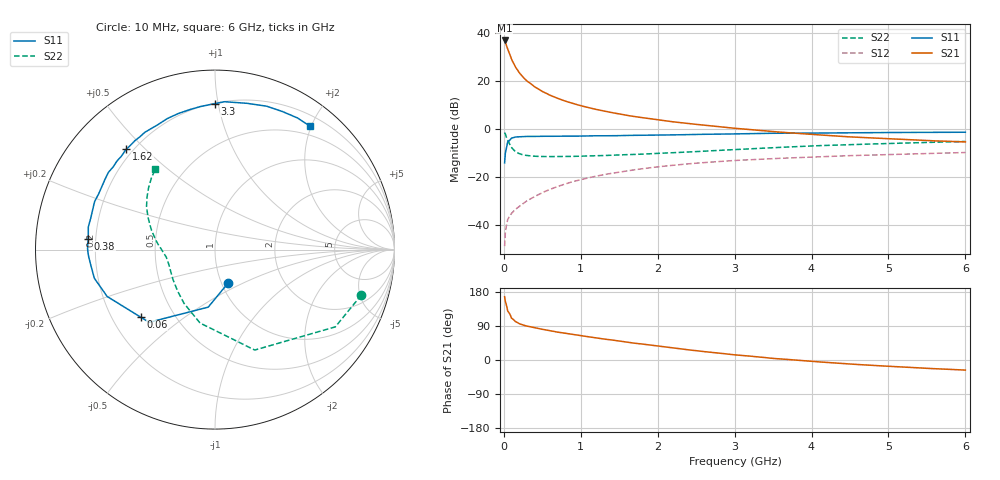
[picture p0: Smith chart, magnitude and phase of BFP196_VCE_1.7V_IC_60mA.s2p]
! Infineon Technologies  Discrete & RF Semiconductors
! BFP196
! VCE = 1.7 V,  IC =  60mA
! Common Emitter S-Parameters:  Jan 2016
# GHz  S  MA  R  50
!  f  S11  S21  S12  S22
! GHz  MAG  ANG  MAG  ANG  MAG  ANG  MAG  ANG
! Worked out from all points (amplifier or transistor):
!   210 points, 10 MHz to 6 GHz, reference 50 ohm
!   highest |S21| = 37.0 dB at 10 MHz (marker M1)
!   |S21| within 3 dB of that: start of sweep to 43.66 MHz
!   unconditionally stable (mu >= 1): 371.3 MHz to 4.909 GHz
!   at 185 MHz: K = 0.79, MSG = 28.4 dB, |S12| = -32.5 dB
!   at 1.52 GHz: K = 1.09, MAG = 10.1 dB, |S12| = -17.7 dB
!   at 6 GHz: K = 0.99, MSG = 2.2 dB, |S12| = -9.7 dB
!   S11 on the Smith chart (normalised r, x): 10 MHz: 1.07, -0.42; 60 MHz: 0.32, -0.35; 380 MHz: 0.17, +0.04; 1.62 GHz: 0.17, +0.44; 3.3 GHz: 0.20, +0.98; 6 GHz: 0.36, +1.98
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0.01  0.2 -68.6  70.4 166.9  0.0037 78.6  0.8541 -17.2
0.02  0.3227 -96.7  64.88 154.0  0.0073 67.8  0.7967 -32.7
0.05  0.5469 -132.2  46.96 129.2  0.0132 54.2  0.6018 -68.4
0.06  0.5595 -137.7  42.97 126.8  0.0141 53.0  0.5533 -73.1
0.1  0.6551 -156.5  28.31 110.3  0.0178 49.5  0.4176 -101.5
0.15  0.6908 -166.6  19.73 101.4  0.0214 51.3  0.3454 -120.0
0.2  0.697 -172.6  15.05 96.0  0.0248 54.4  0.3116 -131.8
0.24  0.7042 -176.5  12.66 93.1  0.0277 56.5  0.297 -138.5
0.3  0.71 179.6  10.11 89.4  0.0324 59.4  0.2851 -146.0
0.38  0.7093 175.0  8.134 86.0  0.0382 61.7  0.2766 -152.6
0.4  0.7098 173.8  7.647 84.9  0.0396 62.2  0.2751 -154.3
0.5  0.7171 169.9  6.118 81.0  0.0479 63.7  0.271 -159.5
0.6  0.7142 165.7  5.11 77.2  0.0563 64.2  0.2703 -163.0
0.8  0.7221 158.2  3.844 70.5  0.0729 63.2  0.2721 -168.1
1.02  0.7226 150.1  3.036 63.7  0.091 61.7  0.276 -171.9
1.62  0.7456 131.5  1.922 46.6  0.1381 53.9  0.2974 -179.7
2.02  0.7615 120.3  1.555 36.4  0.1664 47.8  0.3162 175.2
3.1  0.8042 93.9  1.016 12.0  0.2282 31.4  0.3842 159.9
3.3  0.8131 90.1  0.952 8.3  0.2367 28.6  0.3987 157.0
4.1  0.8362 76.1  0.764 -5.0  0.2678 18.6  0.4564 146.6
5.1  0.8574 62.6  0.625 -17.6  0.3014 7.4  0.511 135.9
6  0.8676 52.5  0.546 -26.6  0.3287 -2.7  0.558 126.6
